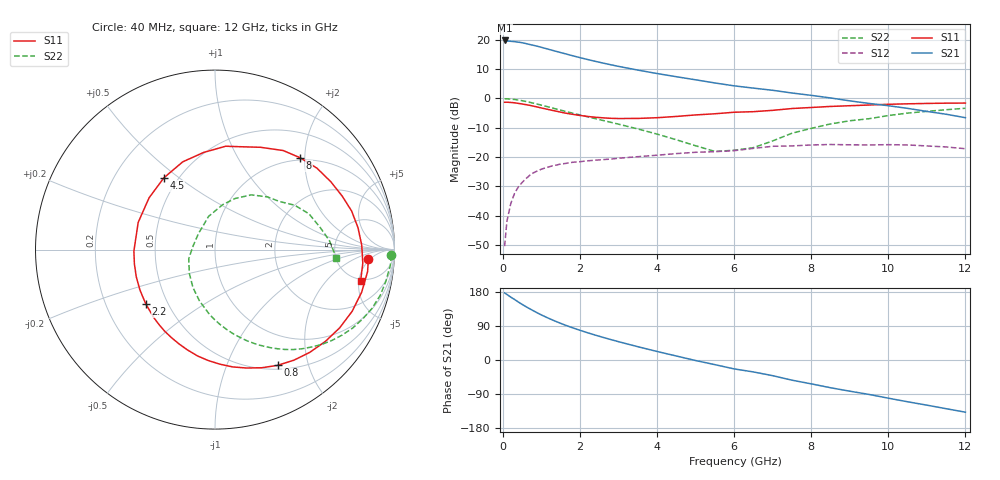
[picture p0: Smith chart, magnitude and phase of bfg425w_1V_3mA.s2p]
! Filename: 13bfg425.001
! BFG425W Field C1
! V1=8.203E-001V,V2=1.000E+000V, I1=4.157E-005A, I2=3.000E-003A
# GHz  S  MA  R 50
!  S11  S21  S12  S22
!Freq(GHz)  Mag  Ang  Mag  Ang  Mag  Ang  Mag  Ang
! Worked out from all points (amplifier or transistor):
!   44 points, 40 MHz to 12 GHz, reference 50 ohm
!   highest |S21| = 19.7 dB at 40 MHz (marker M1)
!   |S21| within 3 dB of that: start of sweep to 1.177 GHz
!   unconditionally stable (mu >= 1): 2.797 GHz to end of sweep
!   at 700 MHz: K = 0.24, MSG = 22.3 dB, |S12| = -26.2 dB
!   at 2.4 GHz: K = 0.86, MSG = 16.9 dB, |S12| = -21.1 dB
!   at 12 GHz: K = 1.63, MAG = 0.7 dB, |S12| = -17.2 dB
!   S11 on the Smith chart (normalised r, x): 40 MHz: 11, -4; 800 MHz: 0.55, -1.53; 2.2 GHz: 0.38, -0.30; 4.5 GHz: 0.42, +0.44; 8 GHz: 0.95, +1.90; 12 GHz: 4.69, -5.29
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0.04  0.856 -3.5  9.716 176.9  0.003 79.7  0.983 -1.9
0.1  0.859 -8.2  9.528 173.0  0.008 85.1  0.981 -5.1
0.2  0.851 -16.2  9.396 165.9  0.016 79.4  0.968 -10.5
0.3  0.838 -24.2  9.271 159.6  0.024 74.5  0.955 -15.6
0.5  0.8 -39.7  8.871 146.4  0.037 64.9  0.909 -25.1
0.6  0.779 -47.3  8.579 140.4  0.043 60.4  0.883 -29.6
0.8  0.733 -61.6  7.994 129.1  0.054 52.3  0.824 -38.0
0.9  0.708 -68.4  7.711 123.8  0.058 48.7  0.794 -41.8
1.1  0.661 -81.4  7.104 113.9  0.065 42.3  0.735 -48.7
1.5  0.58 -105.2  6.024 96.5  0.076 32.0  0.627 -60.6
1.8  0.534 -121.7  5.339 85.2  0.081 26.1  0.559 -68.2
2.2  0.49 -142.0  4.586 71.7  0.086 19.9  0.483 -77.4
2.6  0.464 -161.0  3.988 59.5  0.09 15.0  0.418 -86.2
3  0.452 -178.9  3.507 48.3  0.095 10.8  0.362 -94.9
3.5  0.454 160.6  3.03 35.0  0.101 5.9  0.3 -106.6
4.5  0.491 125.5  2.336 10.5  0.114 -4.0  0.196 -136.7
5.5  0.545 96.7  1.828 -12.3  0.123 -15.4  0.124 171.1
6.5  0.592 75.4  1.493 -31.5  0.14 -22.8  0.144 119.2
8  0.698 47.1  1.124 -63.0  0.16 -47.0  0.307 68.3
8.5  0.727 38.6  1.015 -73.2  0.163 -55.7  0.366 56.4
10.5  0.806 8.7  0.674 -110.2  0.16 -88.4  0.56 20.9
12  0.83 -12.2  0.467 -137.7  0.138 -117.5  0.677 -3.8
